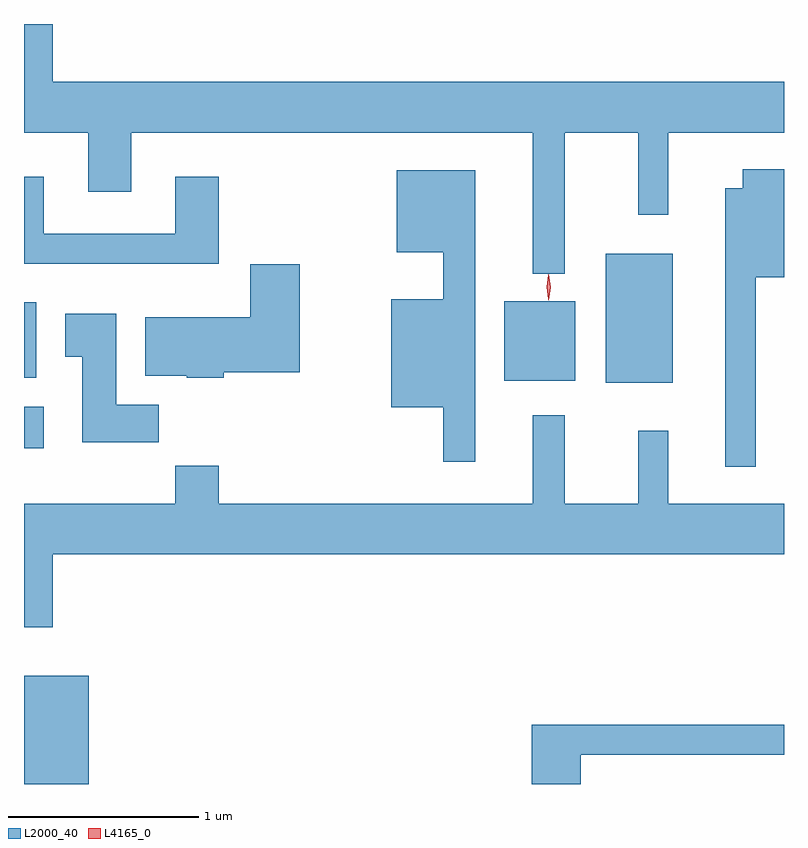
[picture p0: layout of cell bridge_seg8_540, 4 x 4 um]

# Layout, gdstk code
import gdstk
lib = gdstk.Library(unit=1e-6, precision=1e-09)
def R(c, l, rs):  # rectangles x0, y0, x1, y1
    for r in rs: c.add(gdstk.rectangle(r[:2], r[2:], *l))
def P(c, l, *ps):  # polygons
    for p in ps: c.add(gdstk.Polygon(p, *l))
L2000_40 = (2000, 40)
L4165_0 = (4165, 0)

bridge_seg8_540 = lib.new_cell('bridge_seg8_540')
R(bridge_seg8_540, L2000_40, [(468.634,1852.968,468.974,1853.539), (468.634,1854.736,468.739,1854.954), (471.696,1855.081,472.049,1855.759), (471.161,1855.091,471.534,1855.509), (468.634,1855.106,468.699,1855.504)])
P(bridge_seg8_540, L2000_40, [(471.479,1856.396),(471.866,1856.396),(471.866,1855.963),(472.024,1855.963),(472.024,1856.396),(472.634,1856.396),(472.634,1856.664),(468.784,1856.664),(468.784,1856.968),(468.634,1856.968),(468.634,1856.396),(468.971,1856.396),(468.971,1856.086),(469.199,1856.086),(469.199,1856.396),(471.311,1856.396),(471.311,1855.653),(471.479,1855.653)],
  [(472.484,1855.636),(472.634,1855.636),(472.634,1856.204),(472.416,1856.204),(472.416,1856.104),(472.326,1856.104),(472.326,1854.638),(472.484,1854.638)],
  [(471.009,1856.199),(470.596,1856.199),(470.596,1855.766),(470.841,1855.766),(470.841,1855.519),(470.566,1855.519),(470.566,1854.951),(470.841,1854.951),(470.841,1854.663),(471.009,1854.663)],
  [(469.659,1856.164),(469.431,1856.164),(469.431,1855.864),(468.739,1855.864),(468.739,1856.164),(468.634,1856.164),(468.634,1855.706),(469.659,1855.706)],
  [(469.684,1855.136),(470.084,1855.136),(470.084,1855.704),(469.826,1855.704),(469.826,1855.424),(469.271,1855.424),(469.271,1855.116),(469.49,1855.116),(469.49,1855.106),(469.684,1855.106)],
  [(469.344,1854.964),(469.119,1854.964),(469.119,1855.444),(468.851,1855.444),(468.851,1855.216),(468.941,1855.216),(468.941,1854.766),(469.344,1854.766)],
  [(468.784,1854.176),(472.634,1854.176),(472.634,1854.444),(472.024,1854.444),(472.024,1854.828),(471.866,1854.828),(471.866,1854.444),(471.479,1854.444),(471.479,1854.908),(471.311,1854.908),(471.311,1854.444),(469.659,1854.444),(469.659,1854.644),(469.431,1854.644),(469.431,1854.444),(468.634,1854.444),(468.634,1853.793),(468.784,1853.793)],
  [(471.564,1853.121),(472.634,1853.121),(472.634,1853.279),(471.306,1853.279),(471.306,1852.968),(471.564,1852.968)])
P(bridge_seg8_540, L4165_0, [(471.394,1855.518),(471.394,1855.519),(471.384,1855.583),(471.394,1855.647),(471.394,1855.647),(471.395,1855.647),(471.404,1855.583),(471.395,1855.519)],
  [(471.396,1855.514),(471.387,1855.582),(471.396,1855.65),(471.397,1855.651),(471.397,1855.65),(471.407,1855.582),(471.397,1855.514),(471.397,1855.514)])

lib.write_gds('bridge_seg8_540.gds')
